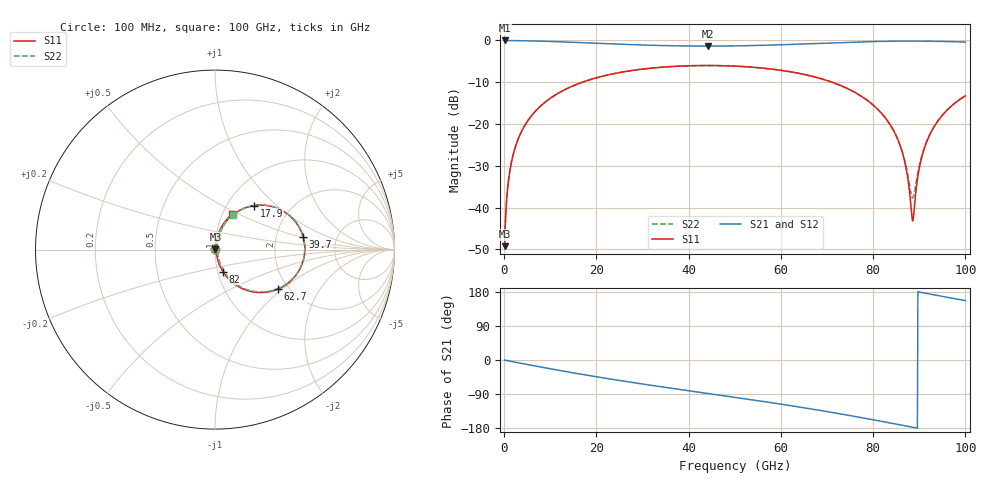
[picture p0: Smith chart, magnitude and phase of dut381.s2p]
! Touchstone file exported from HFSS 2026.1.0
!  File:  C:/ffzhzh/LocalFiles/Ansys_Project_Files/temp_train_RDL_381_1783503725_9504.aedt
!  Generated:  05:43:40 PM Jul  8, 2026
!  Design:  RDL
!  Project:  temp_train_RDL_381_1783503725_9504
! Variables:
!  h_bsmrdl = 2um
!  h_ox = 20um
!  h_rdl = 5um
!  h_sub = 80um
!  h_tmrdl = 4.27um
!  h_tsv = 80um
!  h_via = 3um
!  l_bsmrdl = 300um
!  l_sub = 1077.41um
!  l_tmrdl = 677.41um
!  m_sub = 200um
!  pitch = 49.37um
!  r_tsv = 6um
!  s_tmrdl = 10um
!  w_bsmrdl = 18um
!  w_sub = 500um
!  w_tmrdl = 25.18um
!  x_tsv_center1 = 690um
!  x_tsv_center2 = 1008um
!  x_tsv_center3 = 1710.59um
!  x_tsv_center4 = 2028.59um
!  x_tsv_center5 = 2731.18um
!  x_tsv_center6 = 3049.18um
# GHz S MA R 50.000000
! Terminal data exported
! Port[1] = TM_RDL1_1_T1
! Port[2] = TM_RDL1_1_T2
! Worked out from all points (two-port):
!   1000 points, 100 MHz to 100 GHz, reference 50 ohm
!   highest |S21| = -0.02 dB at 100 MHz (marker M1); lowest = -1.4 dB at 44.1 GHz (marker M2)
!   |S21| within 3 dB of the highest: start of sweep to end of sweep
!   lowest |S11| = -49.2 dB at 100 MHz (marker M3), VSWR 1.01, Z = 50.2 + j0.245 ohm
!   |S11| at or under -10 dB: start of sweep to 16.98 GHz; 71.06 GHz to end of sweep
!   |S22| runs from -49.2 to -6.0 dB; largest |S21 - S12| = 1.8e-14
!   S11 on the Smith chart (normalised r, x): 100 MHz: 1.00, +0.00; 17.9 GHz: 1.33, +0.73; 39.7 GHz: 2.85, +0.55; 62.7 GHz: 1.77, -0.94; 82 GHz: 1.06, -0.26; 100 GHz: 1.11, +0.46
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0.1  0.003459 44.8  0.9976 -0.3  0.9976 -0.3  0.003459 44.8
! Gamma 0 0 0 0
! Port Impedance 50 0 50 0
0.8  0.01808 78.2  0.9967 -1.9  0.9967 -1.9  0.01808 78.2
1.4  0.03103 80.4  0.9962 -3.4  0.9962 -3.4  0.03103 80.4
4  0.08631 77.2  0.9913 -9.5  0.9913 -9.5  0.0863 77.2
9  0.1846 66.6  0.9748 -20.9  0.9748 -20.9  0.1846 66.6
16.8  0.3137 50.4  0.9393 -37.7  0.9393 -37.7  0.3136 50.5
17.9  0.3292 48.2  0.9338 -40.0  0.9338 -40.0  0.3291 48.3
33.4  0.4738 19.3  0.8693 -69.5  0.8693 -69.5  0.4737 19.4
39.7  0.4962 8.4  0.8569 -80.6  0.8569 -80.6  0.4961 8.6
44.1  0.5006 0.9  0.8543 -88.2  0.8543 -88.2  0.5005 1.1
50.1  0.4919 -9.4  0.8591 -98.6  0.8591 -98.6  0.4917 -9.1
62.7  0.4153 -31.9  0.8966 -121.6  0.8966 -121.6  0.4151 -31.4
66.7  0.3729 -39.5  0.9139 -129.4  0.9139 -129.4  0.3727 -38.9
75.7  0.2444 -57.6  0.9534 -148.2  0.9534 -148.2  0.2443 -56.4
82  0.1307 -70.1  0.9734 -162.3  0.9734 -162.3  0.1308 -67.6
83.4  0.1035 -72.5  0.9762 -165.5  0.9762 -165.5  0.1038 -69.3
86.5  0.04227 -74.0  0.9799 -172.6  0.9799 -172.6  0.04334 -66.0
88.6  0.006923 6.5  0.9802 -177.5  0.9802 -177.5  0.01308 5.7
90.2  0.03344 76.3  0.9793 178.8  0.9793 178.8  0.03556 66.5
92.1  0.07089 78.3  0.977 174.4  0.977 174.4  0.0721 73.3
95.4  0.1346 73.4  0.9698 166.9  0.9698 166.9  0.1354 70.7
100  0.2173 64.4  0.9545 156.6  0.9545 156.6  0.2179 62.7
